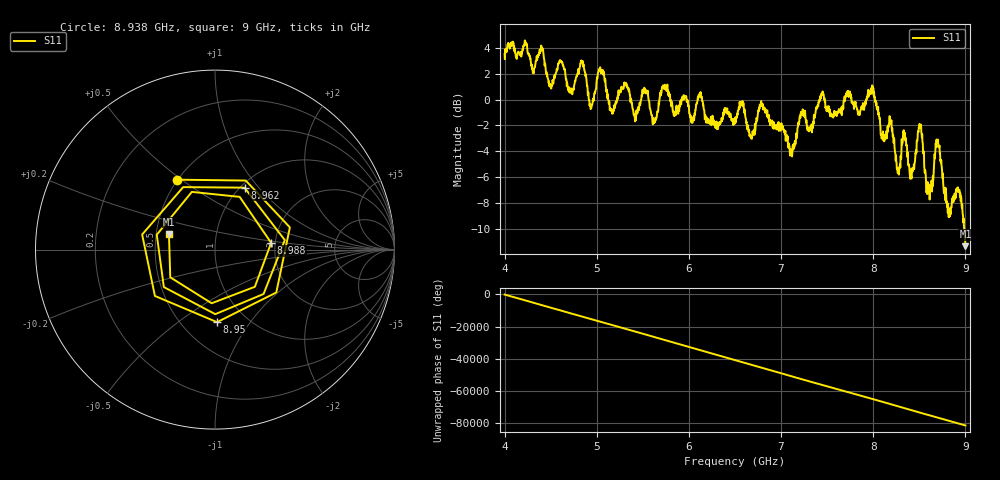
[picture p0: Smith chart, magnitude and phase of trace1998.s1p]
! Created with skrf 1.8.0 (http://scikit-rf.org).
# Hz S RI R 50.0
!freq ReS11 ImS11
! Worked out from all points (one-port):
!   1601 points, 4 GHz to 9 GHz, reference 50 ohm
!   lowest |S11| = -11.3 dB at 9 GHz (marker M1), VSWR 1.74, Z = 29.2 + j5.51 ohm
!   |S11| at or under -10 dB: 8.987522 GHz to end of sweep
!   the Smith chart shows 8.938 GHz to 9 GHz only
!   S11 on the Smith chart (normalised r, x): 8.938 GHz: 0.50, +0.48; 8.95 GHz: 0.73, -0.71; 8.962 GHz: 1.04, +0.84; 8.988 GHz: 1.90, +0.16; 9 GHz: 0.58, +0.11
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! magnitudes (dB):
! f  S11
! 4 GHz  3.5
! 4.625 GHz  2.9
! 4.716 GHz  0.7
! 4.847 GHz  2.9
! 4.938 GHz  -0.5
! 5.041 GHz  2.3
! 5.162 GHz  -0.7
! 5.25 GHz  0.6
! 5.875 GHz  -0.6
! 6.5 GHz  -1.6
! 6.681 GHz  -3.0
! 6.794 GHz  -0.4
! 7.125 GHz  -3.6
! 7.225 GHz  -1.1
! 7.75 GHz  0.4
! 7.991 GHz  0.7
! 8.269 GHz  -5.6
! 8.375 GHz  -4.1
! 8.422 GHz  -5.3
! 8.509 GHz  -2.0
! 8.597 GHz  -6.8
! 8.7 GHz  -3.3
! 8.819 GHz  -9.1
! 8.938 GHz  -7.1
! 8.95 GHz  -7.9
! 8.962 GHz  -8.4
! 8.988 GHz  -10.0
! 9 GHz  -11.3
